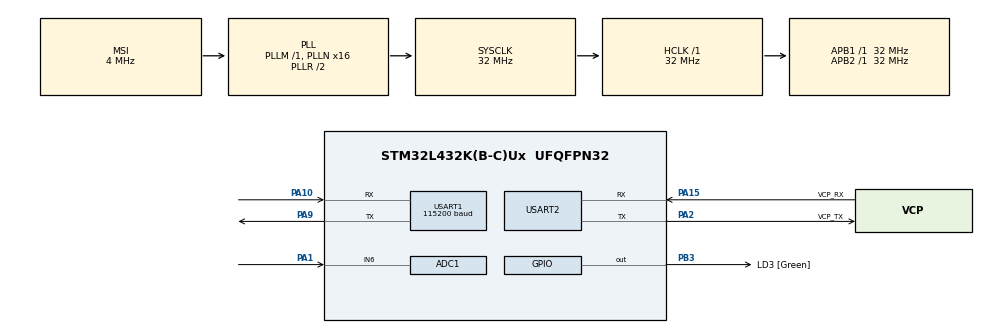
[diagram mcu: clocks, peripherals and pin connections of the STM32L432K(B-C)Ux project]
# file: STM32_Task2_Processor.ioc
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ADC1.Channel-0\#ChannelRegularConversion=ADC_CHANNEL_6
ADC1.ExternalTrigConv=ADC_EXTERNALTRIG_T1_TRGO
ADC1.NbrOfConversionFlag=1
ADC1.OffsetNumber-0\#ChannelRegularConversion=ADC_OFFSET_NONE
ADC1.Rank-0\#ChannelRegularConversion=1
ADC1.Resolution=ADC_RESOLUTION_8B
ADC1.SamplingTime-0\#ChannelRegularConversion=ADC_SAMPLETIME_2CYCLES_5
ADC1.master=1
Mcu.Family=STM32L4
Mcu.Name=STM32L432K(B-C)Ux
Mcu.Package=UFQFPN32
NVIC.ADC1_IRQn=true\:0\:0\:false\:false\:true\:true\:true\:true
NVIC.PriorityGroup=NVIC_PRIORITYGROUP_4
NVIC.TIM1_BRK_TIM15_IRQn=true\:0\:0\:false\:false\:true\:true\:true\:true
NVIC.TIM1_CC_IRQn=true\:0\:0\:false\:false\:true\:true\:true\:true
NVIC.TIM1_TRG_COM_IRQn=true\:0\:0\:false\:false\:true\:true\:true\:true
NVIC.TIM1_UP_TIM16_IRQn=true\:0\:0\:false\:false\:true\:true\:true\:true
PA0.GPIO_Label=MCO [High speed clock in]
PA0.Mode=HSE-External-Clock-Source-for-LittleOrca
PA0.Signal=RCC_CK_IN
PA1.Signal=ADCx_IN6
PA10.Mode=Asynchronous
PA10.Signal=USART1_RX
PA13\ (JTMS-SWDIO).GPIO_Label=SWDIO
PA13\ (JTMS-SWDIO).Mode=Serial_Wire
PA13\ (JTMS-SWDIO).Signal=SYS_JTMS-SWDIO
PA14\ (JTCK-SWCLK).GPIO_Label=SWCLK
PA14\ (JTCK-SWCLK).Mode=Serial_Wire
PA14\ (JTCK-SWCLK).Signal=SYS_JTCK-SWCLK
PA15\ (JTDI).GPIO_Label=VCP_RX
PA15\ (JTDI).Mode=Asynchronous
PA15\ (JTDI).Signal=USART2_RX
PA2.GPIO_Label=VCP_TX
PA2.Mode=Asynchronous
PA2.Signal=USART2_TX
PA9.Mode=Asynchronous
PA9.Signal=USART1_TX
PB3\ (JTDO-TRACESWO).GPIO_Label=LD3 [Green]
PB3\ (JTDO-TRACESWO).Signal=GPIO_Output
PC14-OSC32_IN\ (PC14).Mode=LSE-External-Oscillator
PC14-OSC32_IN\ (PC14).Signal=RCC_OSC32_IN
PC15-OSC32_OUT\ (PC15).Mode=LSE-External-Oscillator
PC15-OSC32_OUT\ (PC15).Signal=RCC_OSC32_OUT
ProjectManager.HeapSize=0x200
ProjectManager.StackSize=0x400
ProjectManager.TargetToolchain=EWARM V8.32
RCC.ADCFreq_Value=32000000
RCC.AHBFreq_Value=32000000
RCC.APB1Freq_Value=32000000
RCC.APB1TimFreq_Value=32000000
RCC.APB2Freq_Value=32000000
RCC.APB2TimFreq_Value=32000000
RCC.CortexFreq_Value=32000000
RCC.HCLKFreq_Value=32000000
RCC.HSE_VALUE=8000000
RCC.HSI16_VALUE=16000000
RCC.HSI48_VALUE=48000000
RCC.HSI_VALUE=16000000
RCC.MSI_VALUE=4000000
RCC.PLLMUL=RCC_PLLMUL_4
RCC.PLLN=16
RCC.PLLSAI1N=16
RCC.SYSCLKFreq_VALUE=32000000
RCC.SYSCLKSource=RCC_SYSCLKSOURCE_PLLCLK
RCC.USBFreq_Value=32000000
RCC.VCOOutputFreq_Value=64000000
SH.ADCx_IN6.0=ADC1_IN6,IN6-Single-Ended
TIM1.Period=200
TIM1.Prescaler=31
TIM1.TIM_MasterOutputTrigger=TIM_TRGO_UPDATE
TIM16.Prescaler=31
USART1.BaudRate=115200
USART1.VirtualMode-Asynchronous=VM_ASYNC
USART2.VirtualMode-Asynchronous=VM_ASYNC
VP_TIM16_VS_ClockSourceINT.Mode=Enable_Timer
VP_TIM1_VS_ClockSourceINT.Mode=Internal
board=NUCLEO-L432KC

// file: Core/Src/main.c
/* USER CODE BEGIN Header */
/**
  ******************************************************************************
  * @file           : main.c
  * @brief          : Main program body
  ******************************************************************************
  * @attention
  *
  * Copyright (c) 2026 STMicroelectronics.
  * All rights reserved.
  *
  * This software is licensed under terms that can be found in the LICENSE file
  * in the root directory of this software component.
  * If no LICENSE file comes with this software, it is provided AS-IS.
  *
  ******************************************************************************
  */
/* USER CODE END Header */
#include "main.h"

ADC_HandleTypeDef hadc1;

TIM_HandleTypeDef htim1;
TIM_HandleTypeDef htim16;

UART_HandleTypeDef huart1;
UART_HandleTypeDef huart2;

void SystemClock_Config(void);
static void MX_GPIO_Init(void);
static void MX_USART2_UART_Init(void);
static void MX_ADC1_Init(void);
static void MX_TIM16_Init(void);
static void MX_USART1_UART_Init(void);
static void MX_TIM1_Init(void);

/* USER CODE BEGIN 0 */

uint32_t Difference = 0;
uint8_t Distance = 0;

void HAL_TIM_PeriodElapsedCallback(TIM_HandleTypeDef *htim) {
	if (mode == 0){
		HAL_UART_Receive(&huart1, &sampledCurrent, 1, HAL_MAX_DELAY);
		uint16_t sampledAverage = (sampledPrevious + sampledCurrent) / 2;
		HAL_UART_Transmit(&huart2, &sampledAverage, 1, HAL_MAX_DELAY);
		sampledPrevious = sampledCurrent;
	} else {
		Distance = Difference / 58
		if (Distance<12 && Distance>8){
			HAL_UART_Receive(&huart1, &sampledCurrent, 1, HAL_MAX_DELAY);
			uint16_t sampledAverage = (sampledPrevious + sampledCurrent) / 2;
			HAL_UART_Transmit(&huart2, &sampledAverage, 1, HAL_MAX_DELAY);
			sampledPrevious = sampledCurrent;
		}

	}

HAL_TIM_Base_Start_IT(&htim1);

/* USER CODE END 0 */

int main(void)
{

  /* USER CODE BEGIN 1 */
	HAL_UART_Receive(&huart2, &mode, 1, HAL_MAX_DELAY);
	if(mode == 1){
		HAL_TIM_Base_Start(&htim16);
		HAL_GPIO_WritePin(TRIG_GPIO_Port, TRIG_Pin, 1);
		uint8_t Delay = __HAL_TIM_GET_COUNTER(&htim16);
			while (Delay != 10) {
			Delay = __HAL_TIM_GET_COUNTER(&htim16);
	}
			HAL_GPIO_WritePin(TRIG_GPIO_Port, TRIG_Pin, 0);

		uint8_t Echostate = HAL_GPIO_ReadPin(echooinejgas);
		__HAL_TIM_SET_COUNTER(&htim16, 0);
		while (Echostate != 0) {
			Echostate = HAL_GPIO_ReadPin(echooinejgas)
	}

	uint8_t difference = __HAL_TIM_GET_COUNTER(&htim16);
			HAL_Delay(60);

}

  /* USER CODE END 1 */

  /* MCU Configuration--------------------------------------------------------*/

  /* Reset of all peripherals, Initializes the Flash interface and the Systick. */
  HAL_Init();

  /* Configure the system clock */
  SystemClock_Config();

  /* Initialize all configured peripherals */
  MX_GPIO_Init();
  MX_USART2_UART_Init();
  MX_ADC1_Init();
  MX_TIM16_Init();
  MX_USART1_UART_Init();
  MX_TIM1_Init();
  /* USER CODE BEGIN 2 */
  HAL_ADC_Start_IT(&hadc1)
  /* USER CODE END 2 */

  /* Infinite loop */
  while (1)
  {

  }
}

void SystemClock_Config(void)
{
  RCC_OscInitTypeDef RCC_OscInitStruct = {0};
  RCC_ClkInitTypeDef RCC_ClkInitStruct = {0};

  /** Configure the main internal regulator output voltage
  */
  if (HAL_PWREx_ControlVoltageScaling(PWR_REGULATOR_VOLTAGE_SCALE1) != HAL_OK)
  {
    Error_Handler();
  }

  /** Configure LSE Drive Capability
  */
  HAL_PWR_EnableBkUpAccess();
  __HAL_RCC_LSEDRIVE_CONFIG(RCC_LSEDRIVE_LOW);

  /** Initializes the RCC Oscillators according to the specified parameters
  * in the RCC_OscInitTypeDef structure.
  */
  RCC_OscInitStruct.OscillatorType = RCC_OSCILLATORTYPE_LSE|RCC_OSCILLATORTYPE_MSI;
  RCC_OscInitStruct.LSEState = RCC_LSE_ON;
  RCC_OscInitStruct.MSIState = RCC_MSI_ON;
  RCC_OscInitStruct.MSICalibrationValue = 0;
  RCC_OscInitStruct.MSIClockRange = RCC_MSIRANGE_6;
  RCC_OscInitStruct.PLL.PLLState = RCC_PLL_ON;
  RCC_OscInitStruct.PLL.PLLSource = RCC_PLLSOURCE_MSI;
  RCC_OscInitStruct.PLL.PLLM = 1;
  RCC_OscInitStruct.PLL.PLLN = 16;
  RCC_OscInitStruct.PLL.PLLP = RCC_PLLP_DIV7;
  RCC_OscInitStruct.PLL.PLLQ = RCC_PLLQ_DIV2;
  RCC_OscInitStruct.PLL.PLLR = RCC_PLLR_DIV2;
  if (HAL_RCC_OscConfig(&RCC_OscInitStruct) != HAL_OK)
  {
    Error_Handler();
  }

  /** Initializes the CPU, AHB and APB buses clocks
  */
  RCC_ClkInitStruct.ClockType = RCC_CLOCKTYPE_HCLK|RCC_CLOCKTYPE_SYSCLK
                              |RCC_CLOCKTYPE_PCLK1|RCC_CLOCKTYPE_PCLK2;
  RCC_ClkInitStruct.SYSCLKSource = RCC_SYSCLKSOURCE_PLLCLK;
  RCC_ClkInitStruct.AHBCLKDivider = RCC_SYSCLK_DIV1;
  RCC_ClkInitStruct.APB1CLKDivider = RCC_HCLK_DIV1;
  RCC_ClkInitStruct.APB2CLKDivider = RCC_HCLK_DIV1;

  if (HAL_RCC_ClockConfig(&RCC_ClkInitStruct, FLASH_LATENCY_1) != HAL_OK)
  {
    Error_Handler();
  }

  /** Enable MSI Auto calibration
  */
  HAL_RCCEx_EnableMSIPLLMode();
}

static void MX_ADC1_Init(void)
{

  ADC_ChannelConfTypeDef sConfig = {0};

  /** Common config
  */
  hadc1.Instance = ADC1;
  hadc1.Init.ClockPrescaler = ADC_CLOCK_ASYNC_DIV1;
  hadc1.Init.Resolution = ADC_RESOLUTION_8B;
  hadc1.Init.DataAlign = ADC_DATAALIGN_RIGHT;
  hadc1.Init.ScanConvMode = ADC_SCAN_DISABLE;
  hadc1.Init.EOCSelection = ADC_EOC_SINGLE_CONV;
  hadc1.Init.LowPowerAutoWait = DISABLE;
  hadc1.Init.ContinuousConvMode = DISABLE;
  hadc1.Init.NbrOfConversion = 1;
  hadc1.Init.DiscontinuousConvMode = DISABLE;
  hadc1.Init.ExternalTrigConv = ADC_EXTERNALTRIG_T1_TRGO;
  hadc1.Init.ExternalTrigConvEdge = ADC_EXTERNALTRIGCONVEDGE_RISING;
  hadc1.Init.DMAContinuousRequests = DISABLE;
  hadc1.Init.Overrun = ADC_OVR_DATA_PRESERVED;
  hadc1.Init.OversamplingMode = DISABLE;
  if (HAL_ADC_Init(&hadc1) != HAL_OK)
  {
    Error_Handler();
  }

  /** Configure Regular Channel
  */
  sConfig.Channel = ADC_CHANNEL_6;
  sConfig.Rank = ADC_REGULAR_RANK_1;
  sConfig.SamplingTime = ADC_SAMPLETIME_2CYCLES_5;
  sConfig.SingleDiff = ADC_SINGLE_ENDED;
  sConfig.OffsetNumber = ADC_OFFSET_NONE;
  sConfig.Offset = 0;
  if (HAL_ADC_ConfigChannel(&hadc1, &sConfig) != HAL_OK)
  {
    Error_Handler();
  }

}

static void MX_TIM1_Init(void)
{

  TIM_ClockConfigTypeDef sClockSourceConfig = {0};
  TIM_MasterConfigTypeDef sMasterConfig = {0};

  htim1.Instance = TIM1;
  htim1.Init.Prescaler = 31;
  htim1.Init.CounterMode = TIM_COUNTERMODE_UP;
  htim1.Init.Period = 200;
  htim1.Init.ClockDivision = TIM_CLOCKDIVISION_DIV1;
  htim1.Init.RepetitionCounter = 0;
  htim1.Init.AutoReloadPreload = TIM_AUTORELOAD_PRELOAD_DISABLE;
  if (HAL_TIM_Base_Init(&htim1) != HAL_OK)
  {
    Error_Handler();
  }
  sClockSourceConfig.ClockSource = TIM_CLOCKSOURCE_INTERNAL;
  if (HAL_TIM_ConfigClockSource(&htim1, &sClockSourceConfig) != HAL_OK)
  {
    Error_Handler();
  }
  sMasterConfig.MasterOutputTrigger = TIM_TRGO_UPDATE;
  sMasterConfig.MasterOutputTrigger2 = TIM_TRGO2_RESET;
  sMasterConfig.MasterSlaveMode = TIM_MASTERSLAVEMODE_DISABLE;
  if (HAL_TIMEx_MasterConfigSynchronization(&htim1, &sMasterConfig) != HAL_OK)
  {
    Error_Handler();
  }

}

static void MX_TIM16_Init(void)
{

  htim16.Instance = TIM16;
  htim16.Init.Prescaler = 31;
  htim16.Init.CounterMode = TIM_COUNTERMODE_UP;
  htim16.Init.Period = 65535;
  htim16.Init.ClockDivision = TIM_CLOCKDIVISION_DIV1;
  htim16.Init.RepetitionCounter = 0;
  htim16.Init.AutoReloadPreload = TIM_AUTORELOAD_PRELOAD_DISABLE;
  if (HAL_TIM_Base_Init(&htim16) != HAL_OK)
  {
    Error_Handler();
  }

}

static void MX_USART1_UART_Init(void)
{

  huart1.Instance = USART1;
  huart1.Init.BaudRate = 115200;
  huart1.Init.WordLength = UART_WORDLENGTH_8B;
  huart1.Init.StopBits = UART_STOPBITS_1;
  huart1.Init.Parity = UART_PARITY_NONE;
  huart1.Init.Mode = UART_MODE_TX_RX;
  huart1.Init.HwFlowCtl = UART_HWCONTROL_NONE;
  huart1.Init.OverSampling = UART_OVERSAMPLING_16;
  huart1.Init.OneBitSampling = UART_ONE_BIT_SAMPLE_DISABLE;
  huart1.AdvancedInit.AdvFeatureInit = UART_ADVFEATURE_NO_INIT;
  if (HAL_UART_Init(&huart1) != HAL_OK)
  {
    Error_Handler();
  }

}

static void MX_USART2_UART_Init(void)
{

  huart2.Instance = USART2;
  huart2.Init.BaudRate = 115200;
  huart2.Init.WordLength = UART_WORDLENGTH_8B;
  huart2.Init.StopBits = UART_STOPBITS_1;
  huart2.Init.Parity = UART_PARITY_NONE;
  huart2.Init.Mode = UART_MODE_TX_RX;
  huart2.Init.HwFlowCtl = UART_HWCONTROL_NONE;
  huart2.Init.OverSampling = UART_OVERSAMPLING_16;
  huart2.Init.OneBitSampling = UART_ONE_BIT_SAMPLE_DISABLE;
  huart2.AdvancedInit.AdvFeatureInit = UART_ADVFEATURE_NO_INIT;
  if (HAL_UART_Init(&huart2) != HAL_OK)
  {
    Error_Handler();
  }

}

static void MX_GPIO_Init(void)
{
  GPIO_InitTypeDef GPIO_InitStruct = {0};

  /* GPIO Ports Clock Enable */
  __HAL_RCC_GPIOC_CLK_ENABLE();
  __HAL_RCC_GPIOA_CLK_ENABLE();
  __HAL_RCC_GPIOB_CLK_ENABLE();

  /*Configure GPIO pin Output Level */
  HAL_GPIO_WritePin(LD3_GPIO_Port, LD3_Pin, GPIO_PIN_RESET);

  /*Configure GPIO pin : LD3_Pin */
  GPIO_InitStruct.Pin = LD3_Pin;
  GPIO_InitStruct.Mode = GPIO_MODE_OUTPUT_PP;
  GPIO_InitStruct.Pull = GPIO_NOPULL;
  GPIO_InitStruct.Speed = GPIO_SPEED_FREQ_LOW;
  HAL_GPIO_Init(LD3_GPIO_Port, &GPIO_InitStruct);

}

void Error_Handler(void)
{
  __disable_irq();
  while (1)
  {
  }
}
